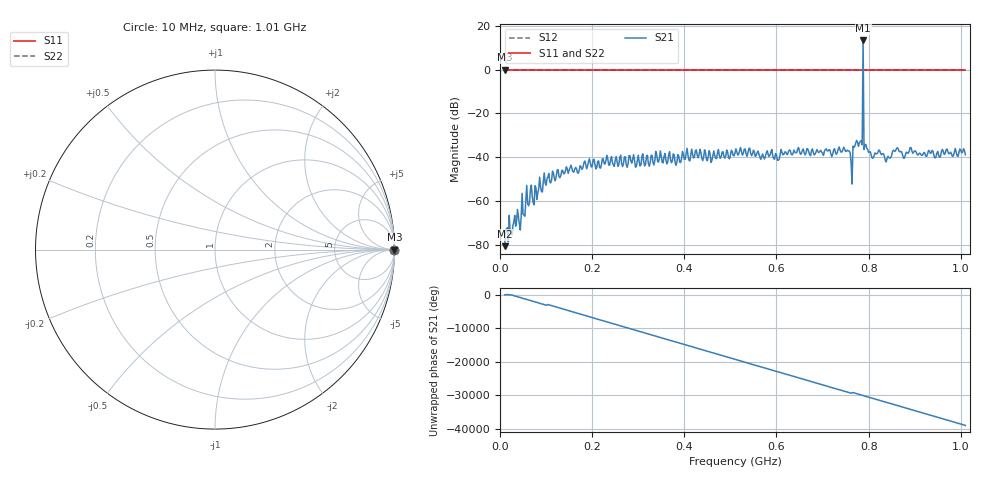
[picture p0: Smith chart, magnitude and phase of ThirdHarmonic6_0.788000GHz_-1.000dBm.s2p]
! 8/16/2025 2:18:12 AM
! C:\ANRITSUVNA\TEMP\TEMP.S2P
! CHANNEL.1
! TR.MEASUREMENT
! RAW.DATA
! RF.CORRECTION.OFF
! AVERAGING.OFF
! IF.BANDWIDTH: 5KHZ
! SWEEPTYPE:  FREQ.SWEEP(Linear)
! Reference Plane Port Info
! PORT:  PORT1  PORT2
! DISTANCE:  0  m  0  m
! TIME:  0  s  0  s
! PHASE.OFFSET:  0  deg.  0  deg.
! LOSS:  0  dB  0  dB
! REF.LOSS:  0  dB  0  dB
! REF.FREQ:  0  Hz  0  Hz
! Power Info
! POWER:  -20  dBm  -20  dBm
! EFF.POWER:  -20  dBm  -20  dBm
! SOURCE.ATTEN:  0  dB  0  dB
! TEST.ATTEN:  0  dB  0  dB
# GHZ S RI R 50.0
! FREQ.GHZ  S11RE  S11IM  S21RE  S21IM  S12RE  S12IM  S22RE  S22IM
!; PortSelection: Port_12
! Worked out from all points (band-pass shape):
!   501 points, 10 MHz to 1.01 GHz, reference 50 ohm
!   highest |S21| = 13.41 dB at 788 MHz (marker M1); lowest = -80.7 dB at 10 MHz (marker M2)
!   |S21| within 3 dB of the highest: 787.8743 MHz to 788.1203 MHz (246 kHz wide, 0.0312 % of centre)
!   lowest |S11| = 0.0 dB at 10 MHz (marker M3)
!   |S11| at or under -10 dB: nowhere
!   |S22| runs from 0.0 to 0.0 dB; largest |S21 - S12| = 5.6
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0.01  1 0  6.67e-05 -6.35e-05  1 0  1 0
0.016  1 0  0.000165 0.00018  1 0  1 0
0.042  1 0  0.000206 -0.000212  1 0  1 0
0.062  1 0  -0.000692 -0.000349  1 0  1 0
0.1  1 0  -0.00018 0.00228  1 0  1 0
0.178  1 0  -0.00523 -0.000515  1 0  1 0
0.344  1 0  0.00722 -0.00273  1 0  1 0
0.51  1 0  -0.0114 0.00519  1 0  1 0
0.678  1 0  -0.0112 -0.0106  1 0  1 0
0.75  1 0  -0.0125 -0.00508  1 0  1 0
0.76  1 0  -0.0123 0.00225  1 0  1 0
0.766  1 0  0.00572 -0.017  1 0  1 0
0.77  1 0  -0.0125 0.0128  1 0  1 0
0.782  1 0  0.0228 -0.00321  1 0  1 0
0.784  1 0  -0.00535 -0.0232  1 0  1 0
0.788  1 0  -4.224 2.016  1 0  1 0
0.792  1 0  0.00764 -0.0179  1 0  1 0
0.794  1 0  -0.0177 -0.00803  1 0  1 0
0.844  1 0  0.00908 0.00351  1 0  1 0
0.86  1 0  -0.00393 0.0148  1 0  1 0
0.876  1 0  -0.00923 0.0018  1 0  1 0
1.01  1 0  -0.0113 0.00129  1 0  1 0
